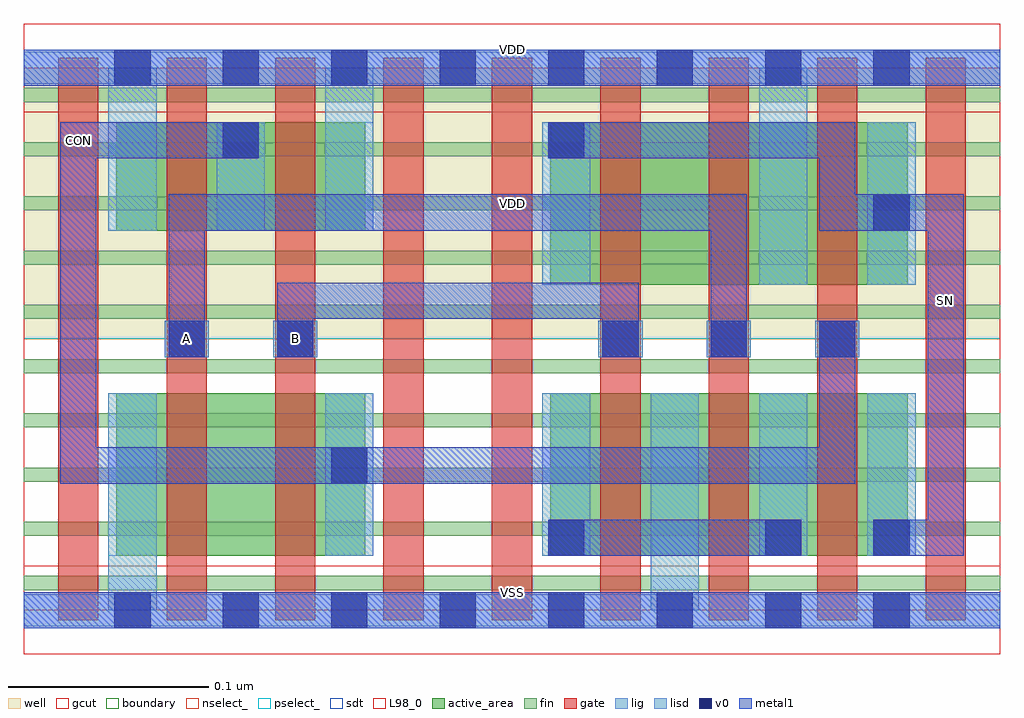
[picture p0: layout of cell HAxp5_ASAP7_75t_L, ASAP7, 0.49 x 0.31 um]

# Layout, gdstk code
import gdstk
lib = gdstk.Library(unit=1e-6, precision=2.5e-10)
def R(c, l, rs):  # rectangles x0, y0, x1, y1
    for r in rs: c.add(gdstk.rectangle(r[:2], r[2:], *l))
def A(c, l, x, y, w, h, nx, ny, dx, dy):  # array of equal rectangles
    R(c, l, [(x+i*dx, y+j*dy, x+i*dx+w, y+j*dy+h) for i in range(nx) for j in range(ny)])
def P(c, l, *ps):  # polygons
    for p in ps: c.add(gdstk.Polygon(p, *l))
well = (1, 0)
fin = (2, 0)
gate = (7, 0)
gcut = (10, 0)
active_area = (11, 0)
nselect_ = (12, 0)
pselect_ = (13, 0)
lig = (16, 0)
lisd = (17, 0)
v0 = (18, 0)
metal1 = (19, 0)
sdt = (88, 0)
L98_0 = (98, 0)
boundary = (100, 0)

haxp5_asap7_75t_l = lib.new_cell('HAxp5_ASAP7_75t_L')
R(haxp5_asap7_75t_l, well, [(0,0.135,0.486,0.27)])
A(haxp5_asap7_75t_l, fin, 0, 0.01, 0.486, 0.007, 1, 10, 0, 0.027)
A(haxp5_asap7_75t_l, gate, 0.017, -0.005, 0.02, 0.28, 9, 1, 0.054, 0)
R(haxp5_asap7_75t_l, gcut, [(0,-0.022,0.486,0.022), (0,0.248,0.486,0.292)])
R(haxp5_asap7_75t_l, active_area, [(0.046,0.027,0.17,0.108), (0.262,0.027,0.44,0.108), (0.262,0.162,0.44,0.243), (0.046,0.189,0.17,0.243)])
R(haxp5_asap7_75t_l, nselect_, [(0,0,0.486,0.135)])
R(haxp5_asap7_75t_l, pselect_, [(0,0.135,0.486,0.27)])
A(haxp5_asap7_75t_l, lig, 0.286, 0.126, 0.022, 0.018, 3, 1, 0.054, 0)
R(haxp5_asap7_75t_l, lig, [(0,-0.008,0.486,0.008), (0.07,0.126,0.092,0.144), (0.124,0.126,0.146,0.144), (0,0.262,0.486,0.278)])
A(haxp5_asap7_75t_l, lisd, 0.15, 0.027, 0.024, 0.081, 3, 1, 0.108, 0)
R(haxp5_asap7_75t_l, lisd, [(0.042,0,0.066,0.108), (0.042,0,0.066,0.108), (0.312,0,0.336,0.108), (0.312,0,0.336,0.108), (0.42,0.027,0.444,0.108), (0.258,0.162,0.282,0.243), (0.366,0.162,0.39,0.27), (0.366,0.162,0.39,0.27), (0.42,0.162,0.444,0.243), (0.042,0.189,0.066,0.27), (0.042,0.189,0.066,0.27), (0.096,0.189,0.12,0.243), (0.15,0.189,0.174,0.27), (0.15,0.189,0.174,0.27)])
A(haxp5_asap7_75t_l, v0, 0.045, -0.009, 0.018, 0.018, 8, 2, 0.054, 0.27)
A(haxp5_asap7_75t_l, v0, 0.288, 0.126, 0.018, 0.018, 3, 1, 0.054, 0)
R(haxp5_asap7_75t_l, v0, [(0.261,0.027,0.279,0.045), (0.369,0.027,0.387,0.045), (0.423,0.027,0.441,0.045), (0.153,0.063,0.171,0.081), (0.072,0.126,0.09,0.144), (0.126,0.126,0.144,0.144), (0.423,0.189,0.441,0.207), (0.099,0.225,0.117,0.243), (0.261,0.225,0.279,0.243)])
A(haxp5_asap7_75t_l, metal1, 0.288, 0.126, 0.018, 0.018, 3, 1, 0.054, 0)
R(haxp5_asap7_75t_l, metal1, [(0,-0.009,0.486,0.009), (0.261,0.027,0.279,0.045), (0.261,0.027,0.387,0.045), (0.369,0.027,0.387,0.045), (0.423,0.027,0.441,0.045), (0.153,0.063,0.171,0.081), (0.072,0.126,0.09,0.144), (0.126,0.126,0.144,0.144), (0.423,0.189,0.441,0.207), (0.099,0.225,0.117,0.243), (0.261,0.225,0.279,0.243), (0,0.261,0.486,0.279)])
P(haxp5_asap7_75t_l, metal1, [(0.36,0.126),(0.36,0.207),(0.072,0.207),(0.072,0.126),(0.09,0.126),(0.09,0.189),(0.342,0.189),(0.342,0.126)],
  [(0.396,0.144),(0.396,0.081),(0.036,0.081),(0.036,0.225),(0.117,0.225),(0.117,0.243),(0.018,0.243),(0.018,0.063),(0.414,0.063),(0.414,0.144)],
  [(0.288,0.126),(0.306,0.126),(0.306,0.163),(0.126,0.163),(0.126,0.126),(0.144,0.126),(0.144,0.145),(0.288,0.145)],
  [(0.414,0.207),(0.414,0.243),(0.261,0.243),(0.261,0.225),(0.396,0.225),(0.396,0.189),(0.45,0.189),(0.45,0.045),(0.423,0.045),(0.423,0.027),(0.468,0.027),(0.468,0.207)])
A(haxp5_asap7_75t_l, sdt, 0.042, 0.027, 0.024, 0.081, 3, 1, 0.108, 0)
A(haxp5_asap7_75t_l, sdt, 0.312, 0.027, 0.024, 0.081, 3, 1, 0.054, 0)
A(haxp5_asap7_75t_l, sdt, 0.042, 0.189, 0.024, 0.054, 3, 1, 0.054, 0)
R(haxp5_asap7_75t_l, sdt, [(0.042,0.027,0.066,0.108), (0.312,0.027,0.336,0.108), (0.258,0.162,0.282,0.243), (0.366,0.162,0.39,0.243), (0.366,0.162,0.39,0.243), (0.42,0.162,0.444,0.243), (0.042,0.189,0.066,0.243), (0.15,0.189,0.174,0.243)])
R(haxp5_asap7_75t_l, L98_0, [(0,0,0.486,0.27)])
R(haxp5_asap7_75t_l, boundary, [(0,0,0.486,0.27)])
haxp5_asap7_75t_l.add(gdstk.Label('VDD', (0.243,0.2025), layer=1, texttype=251))
haxp5_asap7_75t_l.add(gdstk.Label('VSS', (0.243,-0.0675), layer=3, texttype=251))
haxp5_asap7_75t_l.add(gdstk.Label('VSS', (0.243,0.009), layer=19, texttype=251))
haxp5_asap7_75t_l.add(gdstk.Label('VDD', (0.243,0.279), layer=19, texttype=251))
haxp5_asap7_75t_l.add(gdstk.Label('A', (0.081,0.135), layer=19, texttype=251))
haxp5_asap7_75t_l.add(gdstk.Label('CON', (0.027,0.234), layer=19, texttype=251))
haxp5_asap7_75t_l.add(gdstk.Label('B', (0.135,0.135), layer=19, texttype=251))
haxp5_asap7_75t_l.add(gdstk.Label('SN', (0.459,0.154), layer=19, texttype=251))

lib.write_gds('HAxp5_ASAP7_75t_L.gds')
